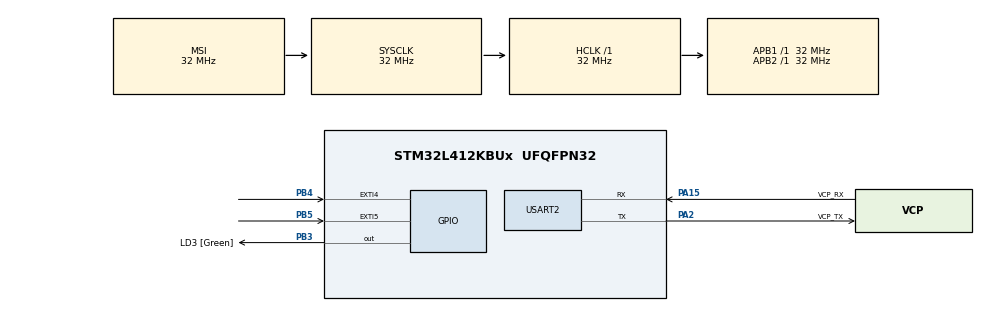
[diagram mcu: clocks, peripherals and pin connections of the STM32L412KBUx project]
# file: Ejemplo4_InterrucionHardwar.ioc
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Mcu.Family=STM32L4
Mcu.Name=STM32L412KBUx
Mcu.Package=UFQFPN32
NVIC.EXTI4_IRQn=true\:0\:0\:false\:false\:true\:true\:true\:true
NVIC.EXTI9_5_IRQn=true\:0\:0\:false\:false\:true\:true\:true\:true
NVIC.PriorityGroup=NVIC_PRIORITYGROUP_4
PA0-CK_IN.Mode=HSE-External-Clock-Source-for-LittleOrca
PA0-CK_IN.Signal=RCC_CK_IN
PA13\ (JTMS/SWDIO).GPIO_Label=SWDIO
PA13\ (JTMS/SWDIO).Mode=Serial_Wire
PA13\ (JTMS/SWDIO).Signal=SYS_JTMS-SWDIO
PA14\ (JTCK/SWCLK).GPIO_Label=SWCLK
PA14\ (JTCK/SWCLK).Mode=Serial_Wire
PA14\ (JTCK/SWCLK).Signal=SYS_JTCK-SWCLK
PA15\ (JTDI).GPIO_Label=VCP_RX
PA15\ (JTDI).Mode=Asynchronous
PA15\ (JTDI).Signal=USART2_RX
PA2.GPIO_Label=VCP_TX
PA2.Mode=Asynchronous
PA2.Signal=USART2_TX
PB3\ (JTDO/TRACESWO).GPIO_Label=LD3 [Green]
PB3\ (JTDO/TRACESWO).Signal=GPIO_Output
PB4\ (NJTRST).GPIO_ModeDefaultEXTI=GPIO_MODE_IT_RISING
PB4\ (NJTRST).Signal=GPXTI4
PB5.Signal=GPXTI5
PC14-OSC32_IN\ (PC14).Mode=LSE-External-Oscillator
PC14-OSC32_IN\ (PC14).Signal=RCC_OSC32_IN
PC15-OSC32_OUT\ (PC15).Mode=LSE-External-Oscillator
PC15-OSC32_OUT\ (PC15).Signal=RCC_OSC32_OUT
ProjectManager.HeapSize=0x200
ProjectManager.StackSize=0x400
ProjectManager.TargetToolchain=STM32CubeIDE
RCC.ADCFreq_Value=32000000
RCC.AHBFreq_Value=32000000
RCC.APB1Freq_Value=32000000
RCC.APB1TimFreq_Value=32000000
RCC.APB2Freq_Value=32000000
RCC.APB2TimFreq_Value=32000000
RCC.CortexFreq_Value=32000000
RCC.FLatency=FLASH_LATENCY_1
RCC.HCLKFreq_Value=32000000
RCC.HSE_VALUE=8000000
RCC.HSI48_VALUE=48000000
RCC.HSICalibrationValue=16
RCC.HSI_VALUE=16000000
RCC.LSE_Drive_Capability=RCC_LSEDRIVE_LOW
RCC.MSIClockRange=RCC_MSIRANGE_10
RCC.MSI_VALUE=32000000
RCC.SYSCLKFreq_VALUE=32000000
RCC.USBFreq_Value=32000000
RCC.VCOOutputFreq_Value=256000000
USART2.VirtualMode-Asynchronous=VM_ASYNC
board=NUCLEO-L412KB

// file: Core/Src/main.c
/* USER CODE BEGIN Header */
/**
  ******************************************************************************
  * @file           : main.c
  * @brief          : Main program body
  ******************************************************************************
  * @attention
  *
  * Copyright (c) 2023 STMicroelectronics.
  * All rights reserved.
  *
  * This software is licensed under terms that can be found in the LICENSE file
  * in the root directory of this software component.
  * If no LICENSE file comes with this software, it is provided AS-IS.
  *
  ******************************************************************************
  */
/* USER CODE END Header */
#include "main.h"

/* USER CODE BEGIN Includes */
#include <stdbool.h>
/* USER CODE END Includes */

 UART_HandleTypeDef huart2;

void SystemClock_Config(void);
static void MX_GPIO_Init(void);
static void MX_USART2_UART_Init(void);

/* USER CODE BEGIN 0 */
__IO bool flag=false,flag1=false;
/* USER CODE END 0 */

int main(void)
{

  /* MCU Configuration--------------------------------------------------------*/

  /* Reset of all peripherals, Initializes the Flash interface and the Systick. */
  HAL_Init();

  /* Configure the system clock */
  SystemClock_Config();

  /* Initialize all configured peripherals */
  MX_GPIO_Init();
  MX_USART2_UART_Init();
  /* USER CODE BEGIN 2 */
uint8_t dato[30]="Interrupcion 1\n\r";
uint8_t dato2[30]="Interrupcion 2\n\r";
  /* USER CODE END 2 */

  /* Infinite loop */
  /* USER CODE BEGIN WHILE */
  while (1)
  {

	  if (flag) {

		  HAL_UART_Transmit(&huart2, dato, strlen(dato), HAL_MAX_DELAY);
		  flag = false;
	  	 }
	  if (flag1) {

		  HAL_UART_Transmit(&huart2, dato2, strlen(dato2), HAL_MAX_DELAY);
		  flag1 = false;
	  	 }

	  HAL_GPIO_TogglePin(LD3_GPIO_Port, LD3_Pin);
	  HAL_Delay(1000);

    /* USER CODE END WHILE */

  }
}

void SystemClock_Config(void)
{
  RCC_OscInitTypeDef RCC_OscInitStruct = {0};
  RCC_ClkInitTypeDef RCC_ClkInitStruct = {0};

  /** Configure the main internal regulator output voltage
  */
  if (HAL_PWREx_ControlVoltageScaling(PWR_REGULATOR_VOLTAGE_SCALE1) != HAL_OK)
  {
    Error_Handler();
  }

  /** Configure LSE Drive Capability
  */
  HAL_PWR_EnableBkUpAccess();
  __HAL_RCC_LSEDRIVE_CONFIG(RCC_LSEDRIVE_LOW);

  /** Initializes the RCC Oscillators according to the specified parameters
  * in the RCC_OscInitTypeDef structure.
  */
  RCC_OscInitStruct.OscillatorType = RCC_OSCILLATORTYPE_LSE|RCC_OSCILLATORTYPE_MSI;
  RCC_OscInitStruct.LSEState = RCC_LSE_ON;
  RCC_OscInitStruct.MSIState = RCC_MSI_ON;
  RCC_OscInitStruct.MSICalibrationValue = 0;
  RCC_OscInitStruct.MSIClockRange = RCC_MSIRANGE_10;
  RCC_OscInitStruct.PLL.PLLState = RCC_PLL_NONE;
  if (HAL_RCC_OscConfig(&RCC_OscInitStruct) != HAL_OK)
  {
    Error_Handler();
  }

  /** Initializes the CPU, AHB and APB buses clocks
  */
  RCC_ClkInitStruct.ClockType = RCC_CLOCKTYPE_HCLK|RCC_CLOCKTYPE_SYSCLK
                              |RCC_CLOCKTYPE_PCLK1|RCC_CLOCKTYPE_PCLK2;
  RCC_ClkInitStruct.SYSCLKSource = RCC_SYSCLKSOURCE_MSI;
  RCC_ClkInitStruct.AHBCLKDivider = RCC_SYSCLK_DIV1;
  RCC_ClkInitStruct.APB1CLKDivider = RCC_HCLK_DIV1;
  RCC_ClkInitStruct.APB2CLKDivider = RCC_HCLK_DIV1;

  if (HAL_RCC_ClockConfig(&RCC_ClkInitStruct, FLASH_LATENCY_1) != HAL_OK)
  {
    Error_Handler();
  }

  /** Enable MSI Auto calibration
  */
  HAL_RCCEx_EnableMSIPLLMode();
}

static void MX_USART2_UART_Init(void)
{

  huart2.Instance = USART2;
  huart2.Init.BaudRate = 115200;
  huart2.Init.WordLength = UART_WORDLENGTH_8B;
  huart2.Init.StopBits = UART_STOPBITS_1;
  huart2.Init.Parity = UART_PARITY_NONE;
  huart2.Init.Mode = UART_MODE_TX_RX;
  huart2.Init.HwFlowCtl = UART_HWCONTROL_NONE;
  huart2.Init.OverSampling = UART_OVERSAMPLING_16;
  huart2.Init.OneBitSampling = UART_ONE_BIT_SAMPLE_DISABLE;
  huart2.AdvancedInit.AdvFeatureInit = UART_ADVFEATURE_NO_INIT;
  if (HAL_UART_Init(&huart2) != HAL_OK)
  {
    Error_Handler();
  }

}

static void MX_GPIO_Init(void)
{
  GPIO_InitTypeDef GPIO_InitStruct = {0};

  /* GPIO Ports Clock Enable */
  __HAL_RCC_GPIOC_CLK_ENABLE();
  __HAL_RCC_GPIOA_CLK_ENABLE();
  __HAL_RCC_GPIOB_CLK_ENABLE();

  /*Configure GPIO pin Output Level */
  HAL_GPIO_WritePin(LD3_GPIO_Port, LD3_Pin, GPIO_PIN_RESET);

  /*Configure GPIO pin : LD3_Pin */
  GPIO_InitStruct.Pin = LD3_Pin;
  GPIO_InitStruct.Mode = GPIO_MODE_OUTPUT_PP;
  GPIO_InitStruct.Pull = GPIO_NOPULL;
  GPIO_InitStruct.Speed = GPIO_SPEED_FREQ_LOW;
  HAL_GPIO_Init(LD3_GPIO_Port, &GPIO_InitStruct);

  /*Configure GPIO pins : PB4 PB5 */
  GPIO_InitStruct.Pin = GPIO_PIN_4|GPIO_PIN_5;
  GPIO_InitStruct.Mode = GPIO_MODE_IT_RISING;
  GPIO_InitStruct.Pull = GPIO_NOPULL;
  HAL_GPIO_Init(GPIOB, &GPIO_InitStruct);

  /* EXTI interrupt init*/
  HAL_NVIC_SetPriority(EXTI4_IRQn, 0, 0);
  HAL_NVIC_EnableIRQ(EXTI4_IRQn);

  HAL_NVIC_SetPriority(EXTI9_5_IRQn, 0, 0);
  HAL_NVIC_EnableIRQ(EXTI9_5_IRQn);

}

/* USER CODE BEGIN 4 */
void HAL_GPIO_EXTI_Callback(uint16_t GPIO_Pin){

	if (GPIO_Pin == GPIO_PIN_4) {

		flag = true;

	}
	else if (GPIO_Pin == GPIO_PIN_5) {

		flag1 = true;
	}

}
/* USER CODE END 4 */

void Error_Handler(void)
{
  __disable_irq();
  while (1)
  {
  }
}
